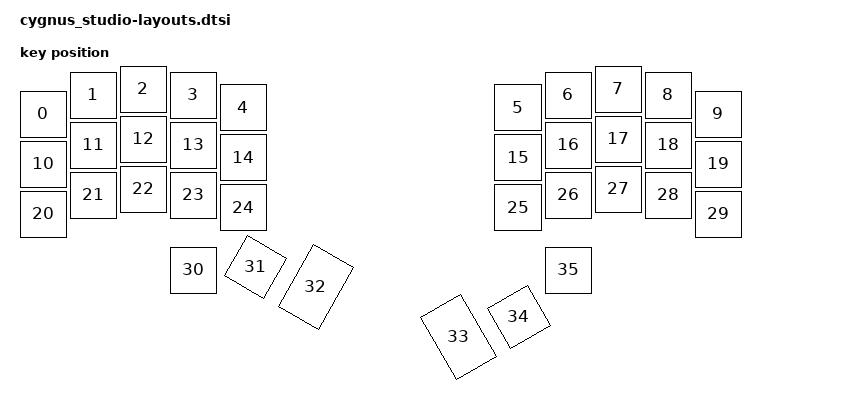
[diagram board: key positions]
/*
 * Copyright (c) 2026 Charly Delay
 *
 * SPDX-License-Identifier: MIT
 */

#include <physical_layouts.dtsi>

/ {
    cygnus_layout: cygnus_layout {
        compatible = "zmk,physical-layout";
        display-name = "Layout";
        transform = <&default_transform>;

        keys  //                     w   h    x    y     rot    rx    ry
            = <&key_physical_attrs 100 100    0   50       0     0     0>
            , <&key_physical_attrs 100 100  100   12       0     0     0>
            , <&key_physical_attrs 100 100  200    0       0     0     0>
            , <&key_physical_attrs 100 100  300   12       0     0     0>
            , <&key_physical_attrs 100 100  400   37       0     0     0>
            , <&key_physical_attrs 100 100  950   37       0     0     0>
            , <&key_physical_attrs 100 100 1050   12       0     0     0>
            , <&key_physical_attrs 100 100 1150    0       0     0     0>
            , <&key_physical_attrs 100 100 1250   12       0     0     0>
            , <&key_physical_attrs 100 100 1350   50       0     0     0>
            , <&key_physical_attrs 100 100    0  150       0     0     0>
            , <&key_physical_attrs 100 100  100  112       0     0     0>
            , <&key_physical_attrs 100 100  200  100       0     0     0>
            , <&key_physical_attrs 100 100  300  112       0     0     0>
            , <&key_physical_attrs 100 100  400  137       0     0     0>
            , <&key_physical_attrs 100 100  950  137       0     0     0>
            , <&key_physical_attrs 100 100 1050  112       0     0     0>
            , <&key_physical_attrs 100 100 1150  100       0     0     0>
            , <&key_physical_attrs 100 100 1250  112       0     0     0>
            , <&key_physical_attrs 100 100 1350  150       0     0     0>
            , <&key_physical_attrs 100 100    0  250       0     0     0>
            , <&key_physical_attrs 100 100  100  212       0     0     0>
            , <&key_physical_attrs 100 100  200  200       0     0     0>
            , <&key_physical_attrs 100 100  300  212       0     0     0>
            , <&key_physical_attrs 100 100  400  237       0     0     0>
            , <&key_physical_attrs 100 100  950  237       0     0     0>
            , <&key_physical_attrs 100 100 1050  212       0     0     0>
            , <&key_physical_attrs 100 100 1150  200       0     0     0>
            , <&key_physical_attrs 100 100 1250  212       0     0     0>
            , <&key_physical_attrs 100 100 1350  250       0     0     0>
            , <&key_physical_attrs 100 100  300  362       0     0     0>
            , <&key_physical_attrs 100 100  450  362    3000   500   362>
            , <&key_physical_attrs 100 150  575  312    3000   500   362>
            , <&key_physical_attrs 100 150  775  312 (-3000)  1150   362>
            , <&key_physical_attrs 100 100  900  362 (-3000)  1150   362>
            , <&key_physical_attrs 100 100 1050  362       0     0     0>
            ;
    };
};
